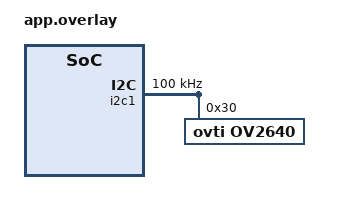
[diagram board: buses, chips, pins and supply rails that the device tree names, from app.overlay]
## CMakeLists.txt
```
# SPDX-License-Identifier: Apache-2.0

cmake_minimum_required(VERSION 3.20.0)

find_package(Zephyr REQUIRED HINTS $ENV{ZEPHYR_BASE})
include_directories(include)
project(tolva)

FILE(GLOB app_sources src/*.c)

target_sources(app PRIVATE
  ${app_sources}
  )
```

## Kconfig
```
mainmenu "tolva"

menu "tolva config"

config VIDEO_FRAME_HEIGHT
       int "Height of the video frame"
       default 0
       help
        Height of the video frame. If set to 0, the default height is used.

config VIDEO_FRAME_WIDTH
       int "Width of the video frame"
       default 0
       help
        Width of the video frame. If set to 0, the default width is used.

config VIDEO_PIXEL_FORMAT
       string "Pixel format of the video frame"
       help
        Pixel format of the video frame. If not set to 0, the default pixel format is used.

endmenu

source "Kconfig.zephyr"
```

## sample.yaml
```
sample:
  name: tolva
```

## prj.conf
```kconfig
CONFIG_VIDEO=y
CONFIG_VIDEO_SW_GENERATOR=y
CONFIG_SHELL=y
CONFIG_DEVICE_SHELL=y
CONFIG_PRINTK=y
CONFIG_LOG=y
CONFIG_CONSOLE=y
CONFIG_DISPLAY=y
CONFIG_REQUIRES_FLOAT_PRINTF=y
CONFIG_VIDEO_BUFFER_POOL_SZ_MAX=40000
CONFIG_VIDEO_BUFFER_POOL_NUM_MAX=3
CONFIG_ESP_SPIRAM=y
CONFIG_SPIRAM_MODE_OCT=y
CONFIG_VIDEO_BUFFER_POOL_ALIGN=32
CONFIG_DMA_ESP32_MAX_DESCRIPTOR_NUM=64
CONFIG_VIDEO_FRAME_HEIGHT=240
CONFIG_VIDEO_FRAME_WIDTH=240
CONFIG_VIDEO_PIXEL_FORMAT="RGBP"
CONFIG_VIDEO_OV2640=y
```

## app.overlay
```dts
/*
 * Copyright (c) 2019 Jan Van Winkel <jan.van_winkel@dxplore.eu>
 *
 * SPDX-License-Identifier: Apache-2.0
 */
#include <zephyr/dt-bindings/mipi_dbi/mipi_dbi.h>

/ {
        chosen {
                zephyr,camera = &i2c1;
        };

};

&i2c1 {
	status = "okay";
	clock-frequency = <I2C_BITRATE_STANDARD>;
	pinctrl-0 = <&i2c1_default>;
	pinctrl-names = "default";
	ov2640: ov2640@30 {
			compatible = "ovti,ov2640";
			reg = <0x30>;
			status = "okay";
			clock-rate-control = <0x80>;
	};
};
```

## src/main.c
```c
/*
 * Copyright (c) 2019 Linaro Limited
 *
 * SPDX-License-Identifier: Apache-2.0
 */

#include <zephyr/device.h>
#include <zephyr/kernel.h>

#include <zephyr/drivers/video.h>

#include <zephyr/logging/log.h>
LOG_MODULE_REGISTER(main);

#define LOG_LEVEL CONFIG_LOG_DEFAULT_LEVEL

#define VIDEO_DEV_SW "VIDEO_SW_GENERATOR"

int main(void) {
  struct video_buffer *buffers[CONFIG_VIDEO_BUFFER_POOL_NUM_MAX], *vbuf;
  struct video_format fmt;
  struct video_caps caps;
  struct video_frmival frmival;
  struct video_frmival_enum fie;
  unsigned int frame = 0;
  size_t bsize;
  int i = 0;
  int err;

#if DT_HAS_CHOSEN(zephyr_camera)
  const struct device *const video_dev =
      DEVICE_DT_GET(DT_CHOSEN(zephyr_camera));

  if (!device_is_ready(video_dev)) {
    LOG_ERR("%s: video device is not ready", video_dev->name);
    return 0;
  }
#else
  const struct device *const video_dev = device_get_binding(VIDEO_DEV_SW);

  if (video_dev == NULL) {
    LOG_ERR("%s: video device not found or failed to initialized",
            VIDEO_DEV_SW);
    return 0;
  }
#endif

  LOG_INF("Video device: %s", video_dev->name);

  /* Get capabilities */
  if (video_get_caps(video_dev, VIDEO_EP_OUT, &caps)) {
    LOG_ERR("Unable to retrieve video capabilities");
    return 0;
  }

  LOG_INF("- Capabilities:");
  while (caps.format_caps[i].pixelformat) {
    const struct video_format_cap *fcap = &caps.format_caps[i];
    /* fourcc to string */
    LOG_INF("  %c%c%c%c width [%u; %u; %u] height [%u; %u; %u]",
            (char)fcap->pixelformat, (char)(fcap->pixelformat >> 8),
            (char)(fcap->pixelformat >> 16), (char)(fcap->pixelformat >> 24),
            fcap->width_min, fcap->width_max, fcap->width_step,
            fcap->height_min, fcap->height_max, fcap->height_step);
    i++;
  }

  /* Get default/native format */
  if (video_get_format(video_dev, VIDEO_EP_OUT, &fmt)) {
    LOG_ERR("Unable to retrieve video format");
    return 0;
  }

#if CONFIG_VIDEO_FRAME_HEIGHT
  fmt.height = CONFIG_VIDEO_FRAME_HEIGHT;
#endif

#if CONFIG_VIDEO_FRAME_WIDTH
  fmt.width = CONFIG_VIDEO_FRAME_WIDTH;
  fmt.pitch = fmt.width * 2;
#endif

  if (strcmp(CONFIG_VIDEO_PIXEL_FORMAT, "")) {
    fmt.pixelformat = video_fourcc(
        CONFIG_VIDEO_PIXEL_FORMAT[0], CONFIG_VIDEO_PIXEL_FORMAT[1],
        CONFIG_VIDEO_PIXEL_FORMAT[2], CONFIG_VIDEO_PIXEL_FORMAT[3]);
  }

  LOG_INF("- Video format: %c%c%c%c %ux%u", (char)fmt.pixelformat,
          (char)(fmt.pixelformat >> 8), (char)(fmt.pixelformat >> 16),
          (char)(fmt.pixelformat >> 24), fmt.width, fmt.height);

  if (video_set_format(video_dev, VIDEO_EP_OUT, &fmt)) {
    LOG_ERR("Unable to set format");
    return 0;
  }

  if (!video_get_frmival(video_dev, VIDEO_EP_OUT, &frmival)) {
    LOG_INF("- Default frame rate : %f fps",
            1.0 * frmival.denominator / frmival.numerator);
  }

  LOG_INF("- Supported frame intervals for the default format:");
  memset(&fie, 0, sizeof(fie));
  fie.format = &fmt;
  while (video_enum_frmival(video_dev, VIDEO_EP_OUT, &fie) == 0) {
    if (fie.type == VIDEO_FRMIVAL_TYPE_DISCRETE) {
      LOG_INF("   %u/%u ", fie.discrete.numerator, fie.discrete.denominator);
    } else {
      LOG_INF("   [min = %u/%u; max = %u/%u; step = %u/%u]",
              fie.stepwise.min.numerator, fie.stepwise.min.denominator,
              fie.stepwise.max.numerator, fie.stepwise.max.denominator,
              fie.stepwise.step.numerator, fie.stepwise.step.denominator);
    }
    fie.index++;
  }

  /* Size to allocate for each buffer */
  if (caps.min_line_count == LINE_COUNT_HEIGHT) {
    bsize = fmt.pitch * fmt.height;
  } else {
    bsize = fmt.pitch * caps.min_line_count;
  }

  /* Alloc video buffers and enqueue for capture */
  for (i = 0; i < ARRAY_SIZE(buffers); i++) {
    /*
     * For some hardwares, such as the PxP used on i.MX RT1170 to do image
     * rotation, buffer alignment is needed in order to achieve the best
     * performance
     */
    buffers[i] =
        video_buffer_aligned_alloc(bsize, CONFIG_VIDEO_BUFFER_POOL_ALIGN);
    if (buffers[i] == NULL) {
      LOG_ERR("Unable to alloc video buffer");
      return 0;
    }

    video_enqueue(video_dev, VIDEO_EP_OUT, buffers[i]);
  }

  /* Start video capture */
  if (video_stream_start(video_dev)) {
    LOG_ERR("Unable to start capture (interface)");
    return 0;
  }

  LOG_INF("Capture started");

  /* Grab video frames */
  while (1) {
    err = video_dequeue(video_dev, VIDEO_EP_OUT, &vbuf, K_FOREVER);
    if (err) {
      LOG_ERR("Unable to dequeue video buf");
      return 0;
    }

    LOG_DBG("Got frame %u! size: %u; timestamp %u ms", frame++, vbuf->bytesused,
            vbuf->timestamp);

    err = video_enqueue(video_dev, VIDEO_EP_OUT, vbuf);
    if (err) {
      LOG_ERR("Unable to requeue video buf");
      return 0;
    }
  }
}
```

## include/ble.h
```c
#ifndef BLE_H
#define BLE_H

void bt_init(void);

#endif
```

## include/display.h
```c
#ifndef DISPLAY_H
#define DISPLAY_H

int init_display(void);

#endif
```

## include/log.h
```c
#ifndef LOGGING_H
#define LOGGING_H

#include <zephyr/logging/log.h>

LOG_MODULE_DECLARE(tolva, LOG_LEVEL_INF);

#endif
```

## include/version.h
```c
#ifndef VERSION_H
#define VERSION_H

#define FW_VERSION "0.0.1"

#endif
```

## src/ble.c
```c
#include <stdbool.h>
#include <stddef.h>
#include <string.h>

#include <zephyr/bluetooth/bluetooth.h>
#include <zephyr/bluetooth/conn.h>
#include <zephyr/bluetooth/gatt.h>
#include <zephyr/bluetooth/hci.h>
#include <zephyr/bluetooth/uuid.h>
#include <zephyr/logging/log.h>
#include <zephyr/settings/settings.h>
#include <zephyr/types.h>

#ifdef CONFIG_MCUMGR
#include <mgmt/smp_bt.h>
#endif

// #include "log.h"
#include "version.h"

LOG_MODULE_REGISTER(tolva_ble);

static void connected(struct bt_conn *conn, uint8_t err);
static void disconnected(struct bt_conn *conn, uint8_t reason);
static bool le_param_req(struct bt_conn *conn, struct bt_le_conn_param *param);
static void le_param_updated(struct bt_conn *conn, uint16_t interval,
                             uint16_t latency, uint16_t timeout);

static struct k_work advertise_work;

/* Custom Service Variables */

#define BT_UUID_CUSTOM_SERVICE_VAL                                             \
  BT_UUID_128_ENCODE(0x49696277, 0xf2f0, 0x47c6, 0x8854, 0xe2dc31396481)

static const struct bt_uuid_128 primary_service_uuid =
    BT_UUID_INIT_128(BT_UUID_CUSTOM_SERVICE_VAL);

static const struct bt_uuid_128 read_characteristic_uuid = BT_UUID_INIT_128(
    BT_UUID_128_ENCODE(0x49696277, 0xf2f0, 0x47c6, 0x8854, 0xe2dc31396482));

static const struct bt_uuid_128 write_characteristic_uuid = BT_UUID_INIT_128(
    BT_UUID_128_ENCODE(0x49696277, 0xf2f0, 0x47c6, 0x8854, 0xe2dc31396483));

static const struct bt_data ad[] = {
    BT_DATA_BYTES(BT_DATA_FLAGS, (BT_LE_AD_GENERAL | BT_LE_AD_NO_BREDR)),
    /* Device information */
    BT_DATA_BYTES(BT_DATA_UUID16_ALL, 0x0a, 0x18),
    /* Current time */
    BT_DATA_BYTES(BT_DATA_UUID16_ALL, 0x05, 0x18),
    BT_DATA_BYTES(BT_DATA_UUID128_ALL, BT_UUID_CUSTOM_SERVICE_VAL),
    BT_DATA(BT_DATA_NAME_COMPLETE, CONFIG_BT_DEVICE_NAME,
            sizeof(CONFIG_BT_DEVICE_NAME) - 1),
#ifdef CONFIG_MCUMGR
    /* SMP */
    BT_DATA_BYTES(BT_DATA_UUID128_ALL, 0x84, 0xaa, 0x60, 0x74, 0x52, 0x8a, 0x8b,
                  0x86, 0xd3, 0x4c, 0xb7, 0x1d, 0x1d, 0xdc, 0x53, 0x8d),
#endif
};

static struct bt_conn_cb m_conn_callbacks = {.connected = connected,
                                             .disconnected = disconnected,
                                             .le_param_req = le_param_req,
                                             .le_param_updated =
                                                 le_param_updated};

static struct bt_le_adv_param param = BT_LE_ADV_PARAM_INIT(
    BT_LE_ADV_OPT_CONNECTABLE | BT_LE_ADV_OPT_USE_NAME, BT_GAP_ADV_SLOW_INT_MIN,
    BT_GAP_ADV_SLOW_INT_MAX, NULL);

static int settings_runtime_load(void) {
  settings_runtime_set("bt/dis/sw", CONFIG_BT_DEVICE_NAME,
                       sizeof(CONFIG_BT_DEVICE_NAME));
  settings_runtime_set("bt/dis/fw", FW_VERSION, sizeof(FW_VERSION));
  return 0;
}

static void advertise(struct k_work *work) {
  int rc;

  bt_le_adv_stop();

  rc = bt_le_adv_start(&param, ad, ARRAY_SIZE(ad), NULL, 0);
  if (rc) {
    LOG_ERR("Advertising failed to start (rc %d)", rc);
    return;
  }

  LOG_INF("Advertising successfully started");
}

static void connected(struct bt_conn *conn, uint8_t err) {
  printk("test\n");
  if (err) {
    return;
  }
  LOG_INF("connected");
}

static void disconnected(struct bt_conn *conn, uint8_t reason) {
  LOG_INF("disconnected (reason: %u)", reason);
}

static bool le_param_req(struct bt_conn *conn, struct bt_le_conn_param *param) {
  return true;
}

static void le_param_updated(struct bt_conn *conn, uint16_t interval,
                             uint16_t latency, uint16_t timeout) {}

/*notify parameters from watch to outside world,
these can be real time measurements*/

static uint8_t vnd_value[] = {'t', 'o', 'l', 'v', 'a'};

static ssize_t read_vnd(struct bt_conn *conn, const struct bt_gatt_attr *attr,
                        void *buf, uint16_t len, uint16_t offset) {
  const char *value = attr->user_data;

  return bt_gatt_attr_read(conn, attr, buf, len, offset, value, strlen(value));
}

static ssize_t write_vnd(struct bt_conn *conn, const struct bt_gatt_attr *attr,
                         const void *buf, uint16_t len, uint16_t offset,
                         uint8_t flags) {
  uint8_t *value = attr->user_data;

  if (offset + len > sizeof(vnd_value)) {
    return BT_GATT_ERR(BT_ATT_ERR_INVALID_OFFSET);
  }

  memcpy(value + offset, buf, len);

  return len;
}

static uint8_t simulate_vnd;

static void vnd_ccc_cfg_changed(const struct bt_gatt_attr *attr,
                                uint16_t value) {
  simulate_vnd = (value == BT_GATT_CCC_INDICATE) ? 1 : 0;
}

/* Vendor Primary Service Declaration */
BT_GATT_SERVICE_DEFINE(
    primary_service, BT_GATT_PRIMARY_SERVICE(&primary_service_uuid),
    BT_GATT_CHARACTERISTIC(&read_characteristic_uuid.uuid, BT_GATT_CHRC_READ,
                           BT_GATT_PERM_READ, read_vnd, NULL, NULL),
    BT_GATT_CHARACTERISTIC(&write_characteristic_uuid.uuid, BT_GATT_CHRC_WRITE,
                           BT_GATT_PERM_WRITE_ENCRYPT, NULL, write_vnd,
                           NULL), );

int bt_vendor_notify(uint16_t sequence, uint16_t heartrate) {
  int rc;
  static uint8_t hrm[2];

  hrm[0] =
      sequence; /* value to describe the order, in case something gets lost */
  hrm[1] = heartrate; /* this is the real parameter value */

  rc = bt_gatt_notify(NULL, &primary_service.attrs[1], &hrm, sizeof(hrm));

  return rc == -ENOTCONN ? 0 : rc;
}

void param_notify(int nummer) {

  // instead of 240-nummer a measurement value can be used

  bt_vendor_notify(nummer, 240 - nummer);
}

void bt_init(void) {
  int err = bt_enable(NULL);
  if (err) {
    LOG_ERR("Bluetooth init failed (err %d)", err);
    return;
  }

  settings_load();
  settings_runtime_load();

  k_work_init(&advertise_work, advertise);
  bt_conn_cb_register(&m_conn_callbacks);
  LOG_INF("bt init callback started\n");

  k_work_submit(&advertise_work);
#ifdef CONFIG_MCUMGR
  /* Initialize the Bluetooth mcumgr transport. */
  smp_bt_register();
#endif

  // notify vendor specific to export values
  err = bt_le_adv_start(BT_LE_ADV_CONN, ad, ARRAY_SIZE(ad), NULL, 0);
  if (err) {
    LOG_ERR("problem starting vendor specific ...(err %d)", err);
  }

  LOG_INF("Bluetooth initialized");
}

void bt_adv_stop(void) {
  k_sleep(K_MSEC(400));

  int err = bt_le_adv_stop();
  if (err) {
    LOG_ERR("Advertising failed to stop (err %d)", err);
    return;
  }
}
```

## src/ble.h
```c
#ifndef BLE_H
#define BLE_H

int bluetooth_business(char *buffer);

#endif
```

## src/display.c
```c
#include "display.h"

#include <zephyr/device.h>
#include <zephyr/devicetree.h>
#include <zephyr/drivers/display.h>
#include <zephyr/drivers/gpio.h>
#include <zephyr/drivers/spi.h>
#include <zephyr/logging/log.h>

#define TOLVA_DISPLAY DT_CHOSEN(zephyr_display)

LOG_MODULE_REGISTER(tolva_display);

int init_display(void) {
#if DT_NODE_HAS_STATUS(TOLVA_DISPLAY, okay)
  const struct device *const disp_dev = DEVICE_DT_GET(TOLVA_DISPLAY);
#else
#error "Node is disabled"
#endif

  if (!device_is_ready(disp_dev)) {
    LOG_ERR("display not ready");
    return 1;
  }
  LOG_INF("display is ready");
  return 0;
}
```
